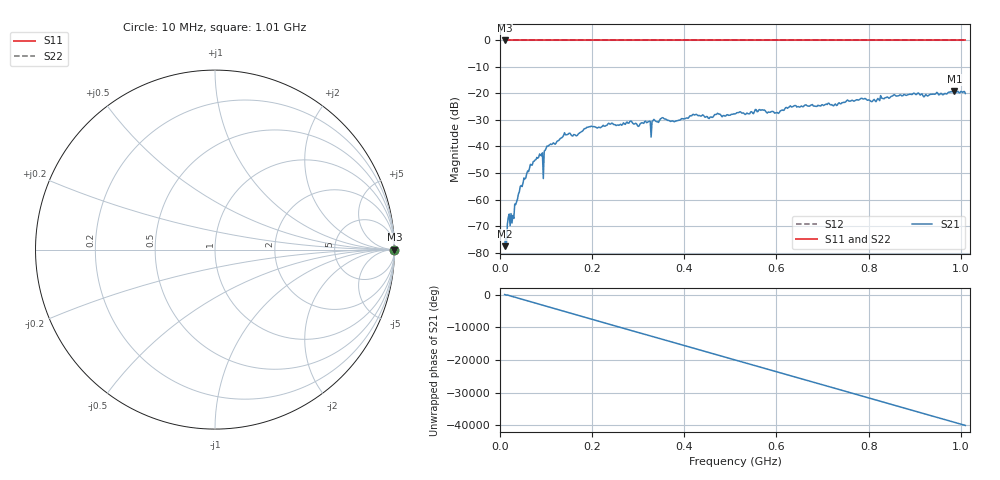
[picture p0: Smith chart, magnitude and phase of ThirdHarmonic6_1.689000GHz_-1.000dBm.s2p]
! 8/16/2025 8:17:09 PM
! C:\ANRITSUVNA\TEMP\TEMP.S2P
! CHANNEL.1
! TR.MEASUREMENT
! RAW.DATA
! RF.CORRECTION.OFF
! AVERAGING.OFF
! IF.BANDWIDTH: 5KHZ
! SWEEPTYPE:  FREQ.SWEEP(Linear)
! Reference Plane Port Info
! PORT:  PORT1  PORT2
! DISTANCE:  0  m  0  m
! TIME:  0  s  0  s
! PHASE.OFFSET:  0  deg.  0  deg.
! LOSS:  0  dB  0  dB
! REF.LOSS:  0  dB  0  dB
! REF.FREQ:  0  Hz  0  Hz
! Power Info
! POWER:  -20  dBm  -20  dBm
! EFF.POWER:  -20  dBm  -20  dBm
! SOURCE.ATTEN:  0  dB  0  dB
! TEST.ATTEN:  0  dB  0  dB
# GHZ S RI R 50.0
! FREQ.GHZ  S11RE  S11IM  S21RE  S21IM  S12RE  S12IM  S22RE  S22IM
!; PortSelection: Port_12
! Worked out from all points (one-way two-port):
!   501 points, 10 MHz to 1.01 GHz, reference 50 ohm
!   highest |S21| = -19.19 dB at 986 MHz (marker M1); lowest = -77.6 dB at 10 MHz (marker M2)
!   lowest |S11| = 0.0 dB at 10 MHz (marker M3)
!   |S11| at or under -10 dB: nowhere
!   |S22| runs from 0.0 to 0.0 dB; largest |S21 - S12| = 1.1
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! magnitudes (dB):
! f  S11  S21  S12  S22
! 10 MHz  0.0  -77.6  0.0  0.0
! 20 MHz  0.0  -65.5  0.0  0.0
! 26 MHz  0.0  -68.9  0.0  0.0
! 42 MHz  0.0  -57.1  0.0  0.0
! 70 MHz  0.0  -47.0  0.0  0.0
! 88 MHz  0.0  -43.2  0.0  0.0
! 92 MHz  0.0  -42.4  0.0  0.0
! 104 MHz  0.0  -39.9  0.0  0.0
! 138 MHz  0.0  -35.8  0.0  0.0
! 178 MHz  0.0  -34.3  0.0  0.0
! 240 MHz  0.0  -31.6  0.0  0.0
! 324 MHz  0.0  -30.5  0.0  0.0
! 344 MHz  0.0  -30.9  0.0  0.0
! 422 MHz  0.0  -28.1  0.0  0.0
! 510 MHz  0.0  -27.8  0.0  0.0
! 566 MHz  0.0  -26.4  0.0  0.0
! 600 MHz  0.0  -27.2  0.0  0.0
! 632 MHz  0.0  -25.0  0.0  0.0
! 678 MHz  0.0  -24.2  0.0  0.0
! 844 MHz  0.0  -21.8  0.0  0.0
! 986 MHz  0.0  -19.2  0.0  0.0
! 1.01 GHz  0.0  -20.0  0.0  0.0
